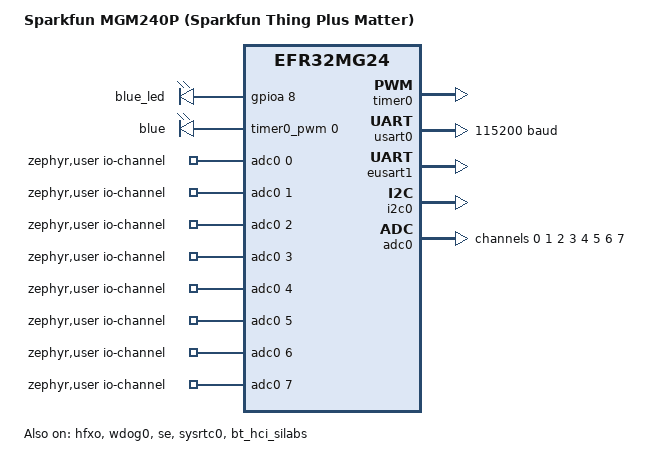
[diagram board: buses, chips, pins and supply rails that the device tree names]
/*
 * Copyright (c) 2024 Daikin Comfort Technologies North America, Inc.
 * Copyright (c) 2020 TriaGnoSys GmbH
 * Copyright (c) 2025 Silicon Laboratories Inc.
 *
 * SPDX-License-Identifier: Apache-2.0
 */

/dts-v1/;
#include <silabs/xg24/mgm240pb32vna.dtsi>
#include <zephyr/dt-bindings/pwm/pwm.h>
#include <zephyr/dt-bindings/adc/silabs-adc.h>
#include "sparkfun_thing_plus_matter_mgm240p-pinctrl.dtsi"
#include <zephyr/dt-bindings/input/input-event-codes.h>
#include <zephyr/dt-bindings/regulator/silabs_dcdc.h>

/ {
	model = "Sparkfun MGM240P (Sparkfun Thing Plus Matter)";
	compatible = "sparkfun,sparkfun_thing_plus_mgm240p", "silabs,efr32mg24";

	chosen {
		zephyr,bt-hci = &bt_hci_silabs;
		zephyr,code-partition = &slot0_partition;
		zephyr,console = &usart0;
		zephyr,flash = &flash0;
		zephyr,shell-uart = &usart0;
		zephyr,sram = &sram0;
	};

	aliases {
		led0 = &blue_led;
		pwm-led0 = &blue_pwm_led;
		spi0 = &eusart1;
		watchdog0 = &wdog0;
		adc0 = &adc0;
	};

	leds {
		compatible = "gpio-leds";

		blue_led: led_0 {
			gpios = <&gpioa 8 GPIO_ACTIVE_HIGH>;
		};
	};

	pwmleds {
		compatible = "pwm-leds";

		blue_pwm_led: pwm_led_0 {
			pwms = <&timer0_pwm 0 PWM_MSEC(20) PWM_POLARITY_NORMAL>;
			label = "blue";
		};
	};

	zephyr,user {
		io-channels = <&adc0 0>,
			      <&adc0 1>,
			      <&adc0 2>,
			      <&adc0 3>,
			      <&adc0 4>,
			      <&adc0 5>,
			      <&adc0 6>,
			      <&adc0 7>;
	};
};

&timer0 {
	status = "okay";

	timer0_pwm: pwm {
		pinctrl-0 = <&timer0_default>;
		pinctrl-names = "default";
		status = "okay";
	};
};

&cpu0 {
	clock-frequency = <78000000>;
};

&hfxo {
	ctune = <140>;
	precision = <50>;
	status = "okay";
};

&hfrcodpll {
	clock-frequency = <DT_FREQ_M(78)>;
	clocks = <&hfxo>;
	dpll-autorecover;
	dpll-edge = "fall";
	dpll-lock = "phase";
	dpll-m = <1919>;
	dpll-n = <3839>;
};

&usart0 {
	current-speed = <115200>;
	pinctrl-0 = <&usart0_default>;
	pinctrl-names = "default";
	status = "okay";
};

&eusart1 {
	compatible = "silabs,eusart-spi";

	#address-cells = <1>;
	#size-cells = <0>;
	pinctrl-0 = <&eusart1_default>;
	pinctrl-names = "default";

	status = "okay";
};

zephyr_i2c: &i2c0 {
	pinctrl-0 = <&i2c0_default>;
	pinctrl-names = "default";
	status = "okay";
};

&gpio {
	status = "okay";
};

&gpioa {
	status = "okay";
};

&gpiob {
	status = "okay";
};

&gpioc {
	status = "okay";
};

&gpiod {
	status = "okay";
};

&wdog0 {
	status = "okay";
};

&se {
	status = "okay";
};

&dcdc {
	status = "okay";
	regulator-boot-on;
	regulator-initial-mode = <SILABS_DCDC_MODE_BUCK>;
	silabs,pfmx-peak-current-milliamp = <50>;
};

&flash0 {
	partitions {
		compatible = "fixed-partitions";
		#address-cells = <1>;
		#size-cells = <1>;

		/* Reserve 48 kB for the bootloader */
		boot_partition: partition@0 {
			reg = <0x0 0x0000c000>;
			label = "mcuboot";
			read-only;
		};

		/* Reserve 464 kB for the application in slot 0 */
		slot0_partition: partition@c000 {
			reg = <0x0000c000 0x00074000>;
			label = "storage";
		};

		/* Reserve 464 kB for the application in slot 1 */
		slot1_partition: partition@80000 {
			reg = <0x00080000 0x00074000>;
			label = "image-0";
		};

		/* Reserve 32 kB for the scratch partition */
		scratch_partition: partition@f4000 {
			reg = <0x000f4000 0x00008000>;
			label = "image-1";
		};

		/* Set 528Kb of storage at the end of the 1024Kb of flash */
		storage_partition: partition@fc000 {
			reg = <0x000fc000 0x00084000>;
			label = "image-scratch";
		};
	};
};

&adc0 {
	pinctrl-0 = <&iadc0_default>;
	pinctrl-names = "default";
	#address-cells = <1>;
	#size-cells = <0>;
	status = "okay";

	/* A0 - PB4 */
	channel@0 {
		reg = <0>;
		zephyr,acquisition-time = <ADC_ACQ_TIME_DEFAULT>;
		zephyr,gain = "ADC_GAIN_1";
		zephyr,input-positive = <IADC_INPUT_PB4>;
		zephyr,reference = "ADC_REF_VDD_1";
		zephyr,resolution = <12>;
		zephyr,vref-mv = <3300>;
	};

	/* A1 - PB3 */
	channel@1 {
		reg = <1>;
		zephyr,acquisition-time = <ADC_ACQ_TIME_DEFAULT>;
		zephyr,gain = "ADC_GAIN_1";
		zephyr,input-positive = <IADC_INPUT_PB3>;
		zephyr,reference = "ADC_REF_VDD_1";
		zephyr,resolution = <12>;
		zephyr,vref-mv = <3300>;
	};

	/* A2 - PB2 */
	channel@2 {
		reg = <2>;
		zephyr,acquisition-time = <ADC_ACQ_TIME_DEFAULT>;
		zephyr,gain = "ADC_GAIN_1";
		zephyr,input-positive = <IADC_INPUT_PB2>;
		zephyr,reference = "ADC_REF_VDD_1";
		zephyr,resolution = <12>;
		zephyr,vref-mv = <3300>;
	};

	/* A3 - PB1 */
	channel@3 {
		reg = <3>;
		zephyr,acquisition-time = <ADC_ACQ_TIME_DEFAULT>;
		zephyr,gain = "ADC_GAIN_1";
		zephyr,input-positive = <IADC_INPUT_PB1>;
		zephyr,reference = "ADC_REF_VDD_1";
		zephyr,resolution = <12>;
		zephyr,vref-mv = <3300>;
	};

	/* A4 - PB0 */
	channel@4 {
		reg = <4>;
		zephyr,acquisition-time = <ADC_ACQ_TIME_DEFAULT>;
		zephyr,gain = "ADC_GAIN_1";
		zephyr,input-positive = <IADC_INPUT_PB0>;
		zephyr,reference = "ADC_REF_VDD_1";
		zephyr,resolution = <12>;
		zephyr,vref-mv = <3300>;
	};

	/* A5 - PA0 */
	channel@5 {
		reg = <5>;
		zephyr,acquisition-time = <ADC_ACQ_TIME_DEFAULT>;
		zephyr,gain = "ADC_GAIN_1";
		zephyr,input-positive = <IADC_INPUT_PA0>;
		zephyr,reference = "ADC_REF_VDD_1";
		zephyr,resolution = <12>;
		zephyr,vref-mv = <3300>;
	};

	/* A6 - PA4 */
	channel@6 {
		reg = <6>;
		zephyr,acquisition-time = <ADC_ACQ_TIME_DEFAULT>;
		zephyr,gain = "ADC_GAIN_1";
		zephyr,input-positive = <IADC_INPUT_PA4>;
		zephyr,reference = "ADC_REF_VDD_1";
		zephyr,resolution = <12>;
		zephyr,vref-mv = <3300>;
	};

	/* A7 - PC4 */
	channel@7 {
		reg = <7>;
		zephyr,acquisition-time = <ADC_ACQ_TIME_DEFAULT>;
		zephyr,gain = "ADC_GAIN_1";
		zephyr,input-positive = <IADC_INPUT_PC4>;
		zephyr,reference = "ADC_REF_VDD_1";
		zephyr,resolution = <12>;
		zephyr,vref-mv = <3300>;
	};
};

&sysrtc0 {
	status = "okay";
};

&bt_hci_silabs {
	status = "okay";
};
